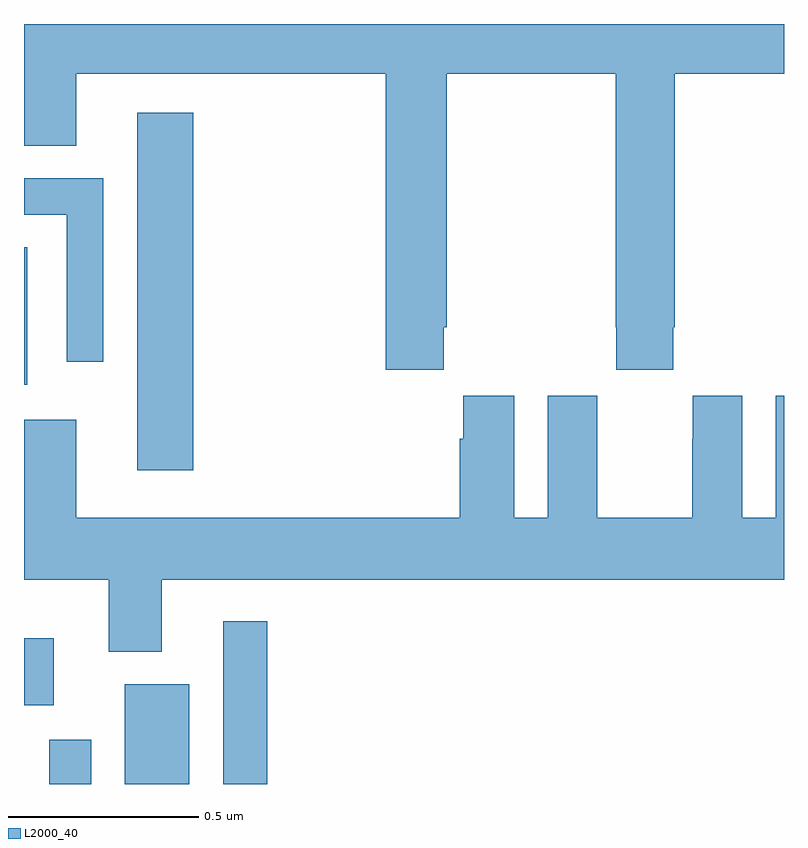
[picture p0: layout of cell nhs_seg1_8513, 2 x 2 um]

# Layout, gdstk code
import gdstk
lib = gdstk.Library(unit=1e-6, precision=1e-09)
def R(c, l, rs):  # rectangles x0, y0, x1, y1
    for r in rs: c.add(gdstk.rectangle(r[:2], r[2:], *l))
def P(c, l, *ps):  # polygons
    for p in ps: c.add(gdstk.Polygon(p, *l))
L2000_40 = (2000, 40)

nhs_seg1_8513 = lib.new_cell('nhs_seg1_8513')
R(nhs_seg1_8513, L2000_40, [(217.067,547.199,217.177,547.315), (217.265,547.199,217.435,547.462), (217.524,547.199,217.64,547.627), (217,547.406,217.078,547.582), (217.298,548.025,217.445,548.965), (217,548.25,217.009,548.612)])
P(nhs_seg1_8513, L2000_40, [(218.105,548.401),(218.112,548.401),(218.112,549.068),(218.557,549.068),(218.557,548.401),(218.559,548.401),(218.559,548.289),(218.709,548.289),(218.709,548.401),(218.712,548.401),(218.712,549.068),(219,549.068),(219,549.199),(217,549.199),(217,548.878),(217.138,548.878),(217.138,549.068),(217.952,549.068),(217.952,548.289),(218.105,548.289)],
  [(217.209,548.793),(217,548.793),(217,548.697),(217.113,548.697),(217.113,548.31),(217.209,548.31)],
  [(217.363,547.736),(219,547.736),(219,548.221),(218.978,548.221),(218.978,547.9),(218.89,547.9),(218.89,548.221),(218.76,548.221),(218.76,548.108),(218.759,548.108),(218.759,547.9),(218.509,547.9),(218.509,548.108),(218.508,548.108),(218.508,548.221),(218.378,548.221),(218.378,547.9),(218.29,547.9),(218.29,548.221),(218.156,548.221),(218.156,548.108),(218.147,548.108),(218.147,547.9),(217.138,547.9),(217.138,548.158),(217,548.158),(217,547.736),(217.223,547.736),(217.223,547.547),(217.363,547.547)])

lib.write_gds('nhs_seg1_8513.gds')
